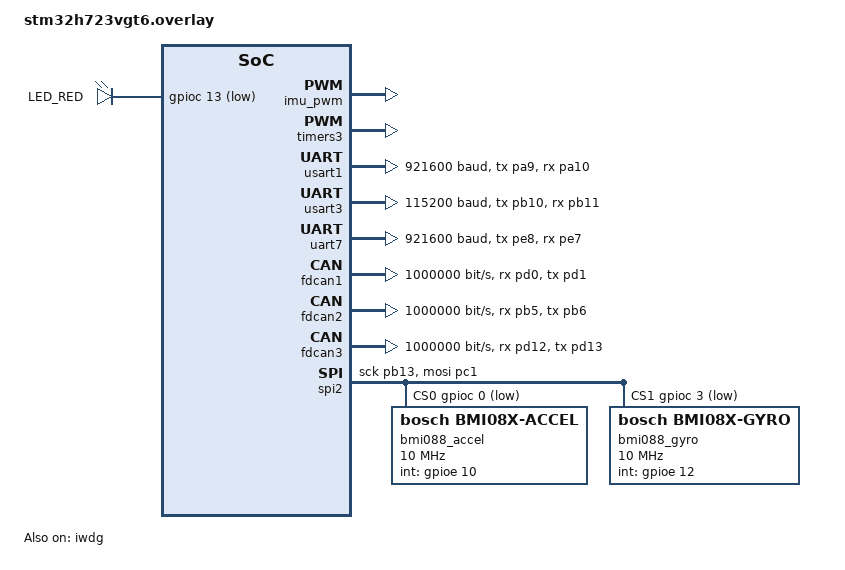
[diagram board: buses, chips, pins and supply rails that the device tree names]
#include <dt-bindings/gpio/gpio.h>
#include <dt-bindings/pinctrl/stm32-pinctrl.h>
#include <dt-bindings/dma/stm32_dma.h>
#include <zephyr/dt-bindings/pwm/pwm.h>

/ {
	aliases {
		user-can1    = &fdcan1;
		inter-can    = &fdcan2;      /* 上下板通信总线（与 head 同名，总线所有者组件用） */
		user-can3	 = &fdcan3;
		remote-uart  = &usart1;
		vofa-uart	 = &uart7;
		bmi088-accel = &bmi088_accel;
		bmi088-gyro  = &bmi088_gyro;
		imu-pwm      = &imu_pwm;
	};
	chosen {
		zephyr,console = &usart3;
		zephyr,shell-uart = &usart3;
		zephyr,watchdog = &iwdg;
	};
	leds {
		compatible = "gpio-leds";
		led_alert: led_alert {
			gpios = <&gpioc 13 GPIO_ACTIVE_LOW>;
			label = "LED_RED";
		};
	};

	pwmleds {
		compatible = "pwm-leds";

		imu_pwm: imu_pwm {
			pwms = <&pwm3 4 PWM_NSEC(2083542) PWM_POLARITY_NORMAL>;
			label = "IMU Heater";
			status = "okay";
		};
	};
};

&iwdg {
	status = "okay";
};

/* IMU 加热器 PWM：TIM3_CH4 / PB1，PSC=24，ARR=10000（≈2.0835ms，~480Hz） */
&timers3 {
	st,prescaler = <24>;
	status = "okay";

	pwm3: pwm {
		status = "okay";
		pinctrl-0 = <&tim3_ch4_pb1>;
		pinctrl-names = "default";
	};
};

&pinctrl {
	tim3_ch4_pb1: tim3_ch4_pb1 {
		pinmux = <STM32_PINMUX('B', 1, AF2)>;
	};
};

&usart1 {
	pinctrl-0 = <&usart1_tx_pa9 &usart1_rx_pa10>;
	pinctrl-names = "default";
	current-speed = <921600>;
	dmas = <&dmamux1 0 42 (STM32_DMA_PERIPH_TX | STM32_DMA_PRIORITY_HIGH)>,
	       <&dmamux1 1 41 (STM32_DMA_PERIPH_RX | STM32_DMA_PRIORITY_HIGH)>;
	dma-names = "tx", "rx";
	status = "okay";
};

&usart3 {
	pinctrl-0 = <&usart3_tx_pb10 &usart3_rx_pb11>;
	pinctrl-names = "default";
	current-speed = <115200>;
	status = "okay";
};

&uart7 {
	pinctrl-0 = <&uart7_tx_pe8 &uart7_rx_pe7>;
	pinctrl-names = "default";
	current-speed = <921600>;
	status = "okay";
};

/* USART1 DMA（遥控器接收）：DMAMUX1 通道 0/1 映射到 DMA1 */
&dma1 {
	status = "okay";
};

&dmamux1 {
	status = "okay";
};

&fdcan1 {
	pinctrl-0 = <&fdcan1_rx_pd0 &fdcan1_tx_pd1>;
	pinctrl-names = "default";
	/* FDCAN 内核时钟源必须显式选 PLL1Q(120MHz)。
	 * 不写这一项时 RCC_D2CCIP1R.FDCANSEL 保持复位默认 = HSE(24MHz)，
	 * 而驱动仍按 DT 里 120MHz 的时钟树算位时序（120 tq/位），
	 * 结果实际位率只有标称的 1/5：1Mbps 变成 200kbps，总线上谁都收不到。 */
	clocks = <&rcc STM32_CLOCK(APB1_2, 8)>,
		 <&rcc STM32_SRC_PLL1_Q FDCAN_SEL(1)>;
	bitrate = <1000000>;
	sample-point = <800>;
	bitrate-data = <2000000>;
	sample-point-data = <750>;
	status = "okay";
};

&fdcan2 {
	pinctrl-0 = <&fdcan2_rx_pb5 &fdcan2_tx_pb6>;
	pinctrl-names = "default";
	/* 同上：内核时钟必须显式选 PLL1Q(120MHz)，否则实际位率是 1/5 */
	clocks = <&rcc STM32_CLOCK(APB1_2, 8)>,
		 <&rcc STM32_SRC_PLL1_Q FDCAN_SEL(1)>;
	bitrate = <1000000>;
	sample-point = <800>;
	bitrate-data = <4000000>;
	sample-point-data = <750>;
	status = "okay";
};

&fdcan3 {
	pinctrl-0 = <&fdcan3_rx_pd12 &fdcan3_tx_pd13>;
	pinctrl-names = "default";
	/* 同上：内核时钟必须显式选 PLL1Q(120MHz)，否则实际位率是 1/5 */
	clocks = <&rcc STM32_CLOCK(APB1_2, 8)>,
		 <&rcc STM32_SRC_PLL1_Q FDCAN_SEL(1)>;
	bitrate = <1000000>;
	status = "okay";
};

&spi2 {
	pinctrl-0 = <&spi2_sck_pb13 &spi2_miso_pc2_c &spi2_mosi_pc1>;
	pinctrl-names = "default";
	cs-gpios = <&gpioc 0 (GPIO_ACTIVE_LOW | GPIO_PULL_UP)>,
		   <&gpioc 3 (GPIO_ACTIVE_LOW | GPIO_PULL_UP)>;
	/* SPI2(BMI088) DMA：DMAMUX1 通道 2/3 → DMA1 Stream2/3。
	 * 请求号 SPI2_TX=40 / SPI2_RX=39（与 SPI2 共用 0x40003800 的 i2s2 节点里给出的映射）。
	 * 通道 0/1 已给 USART1，这里错开用 2/3，务必落在 DMA1（dmamux 信道 0-7 → DMA1）。 */
	dmas = <&dmamux1 2 40 (STM32_DMA_PERIPH_TX | STM32_DMA_PRIORITY_HIGH)>,
	       <&dmamux1 3 39 (STM32_DMA_PERIPH_RX | STM32_DMA_PRIORITY_HIGH)>;
	dma-names = "tx", "rx";
	status = "okay";

	bmi088_accel: bmi088-accel@0 {
		compatible = "bosch,bmi08x-accel";
		reg = <0>;
		spi-max-frequency = <10000000>;
		spi-cpol;
		spi-cpha;
		int-gpios = <&gpioe 10 GPIO_ACTIVE_HIGH>;
		int1-map-io = <0x01>;
		int2-map-io = <0x00>;
		int1-conf-io = <0x0A>;
		int2-conf-io = <0x00>;
		accel-hz = "800";
		accel-fs = <6>;
		status = "okay";
	};

	bmi088_gyro: bmi088-gyro@1 {
		compatible = "bosch,bmi08x-gyro";
		reg = <1>;
		spi-max-frequency = <10000000>;
		spi-cpol;
		spi-cpha;
		int-gpios = <&gpioe 12 GPIO_ACTIVE_HIGH>;
		int3-4-map-io = <0x01>;
		int3-4-conf-io = <0x01>;
		gyro-hz = "2000_230";
		gyro-fs = <2000>;
		status = "okay";
	};
};
